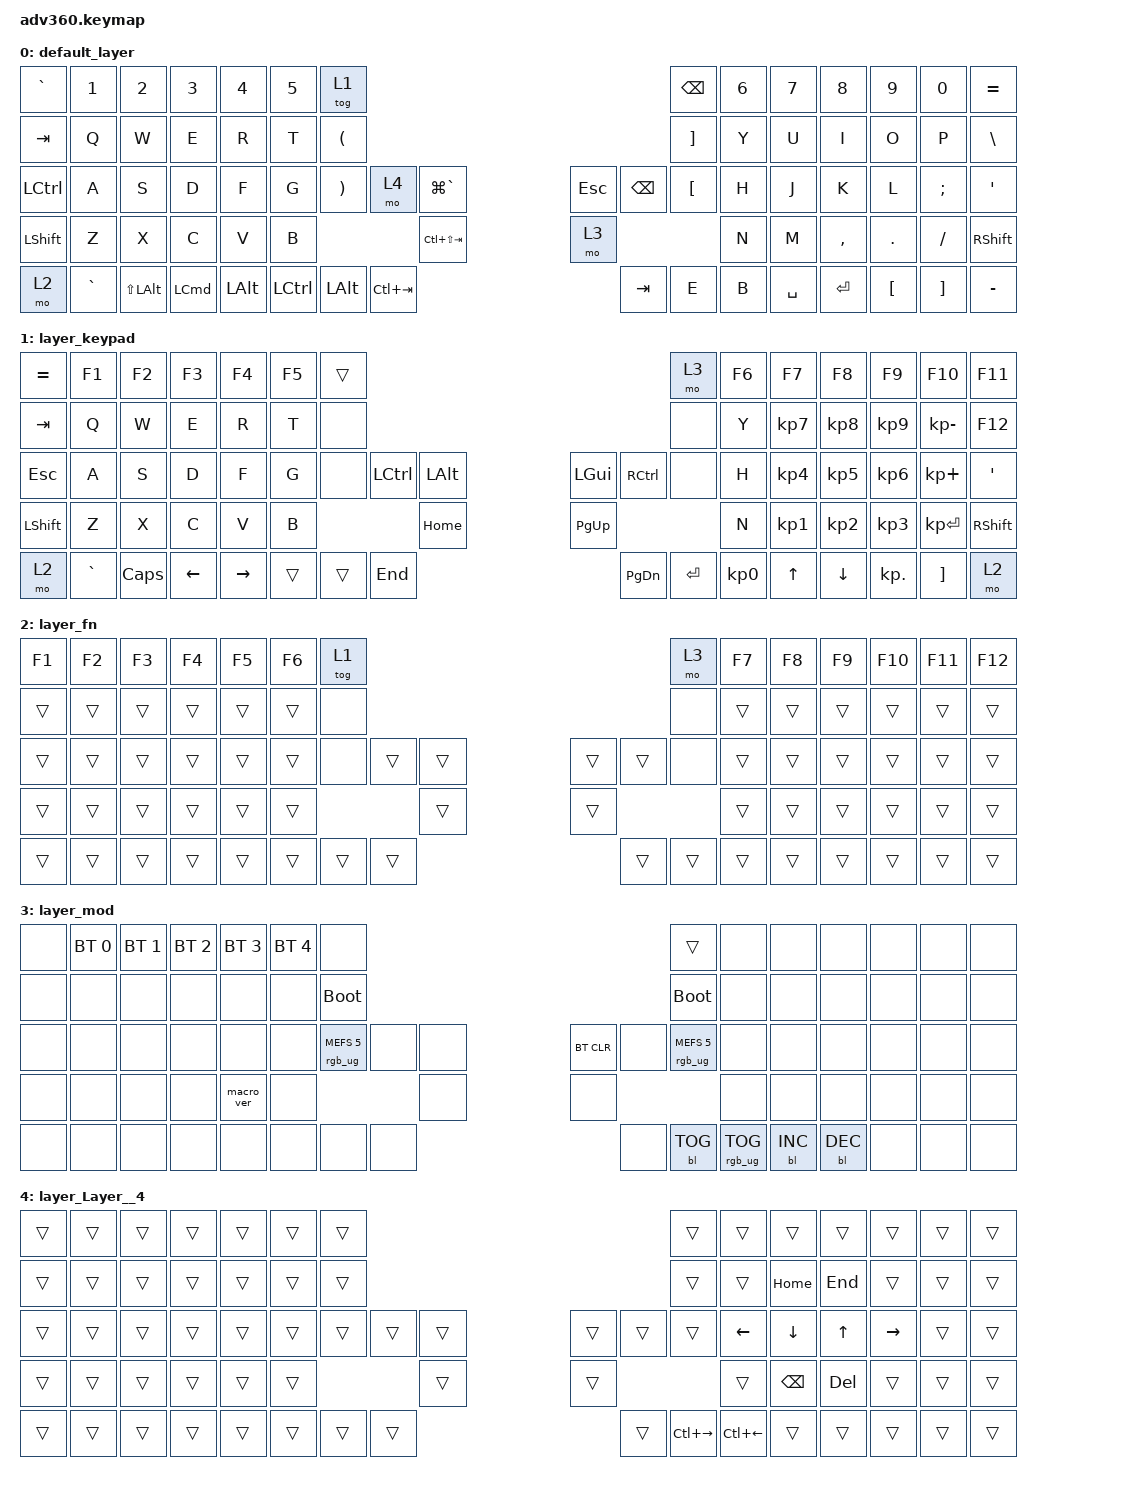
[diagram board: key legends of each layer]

/*
 * Copyright (c) 2020 The ZMK Contributors
 *
 * SPDX-License-Identifier: MIT
 */


/* THIS FILE WAS GENERATED!
 *
 * This file was generated automatically. You may or may not want to
 * edit it directly.
 */

#include <behaviors.dtsi>
#include <dt-bindings/zmk/keys.h>
#include <dt-bindings/zmk/bt.h>
#include <dt-bindings/zmk/rgb.h>
#include <dt-bindings/zmk/backlight.h>

/ {
  behaviors {
    #include "macros.dtsi"
    #include "version.dtsi"

    hm: homerow_mods {
        compatible = "zmk,behavior-hold-tap";
        label = "HOMEROW_MODS";
        #binding-cells = <2>;
        tapping-term-ms = <200>;
        quick_tap_ms = <175>;
        flavor = "tap-preferred";
        bindings = <&kp>, <&kp>;
    };
  };

    keymap {
        compatible = "zmk,keymap";


        default_layer {
            bindings = <
 &kp GRAVE     &kp N1        &kp N2    &kp N3        &kp N4  &kp N5                           &tog 1                                                                                &kp BACKSPACE  &kp N6     &kp N7     &kp N8    &kp N9    &kp N0  &kp EQUAL
   &kp TAB      &kp Q         &kp W     &kp E         &kp R   &kp T             &kp LEFT_PARENTHESIS                                                                            &kp RIGHT_BRACKET   &kp Y      &kp U      &kp I     &kp O     &kp P   &kp BSLH
 &kp LCTRL      &kp A         &kp S     &kp D         &kp F   &kp G            &kp RIGHT_PARENTHESIS         &mo 4    &kp LG(GRAVE)                  &kp ESCAPE  &kp BACKSPACE   &kp LEFT_BRACKET   &kp H      &kp J      &kp K     &kp L  &kp SEMI    &kp SQT
 &kp LSHFT      &kp Z         &kp X     &kp C         &kp V   &kp B                                                 &kp LC(LS(TAB))                       &mo 3                                     &kp N      &kp M  &kp COMMA   &kp DOT  &kp FSLH  &kp RSHFT
     &mo 2  &kp GRAVE  &kp LS(LALT)  &kp LCMD  &kp LEFT_ALT                                &kp LCTRL  &kp LEFT_ALT      &kp LC(TAB)                     &kp TAB          &kp E              &kp B          &kp SPACE  &kp ENTER  &kp LBKT  &kp RBKT  &kp MINUS
            >;
        };

        layer_keypad {
            bindings = <
 &kp EQUAL     &kp F1    &kp F2    &kp F3     &kp F4  &kp F5            &trans                                                                 &mo 3  &kp F6     &kp F7     &kp F8      &kp F9       &kp F10    &kp F11
   &kp TAB      &kp Q     &kp W     &kp E      &kp R   &kp T             &none                                                                 &none   &kp Y  &kp KP_N7  &kp KP_N8   &kp KP_N9  &kp KP_MINUS    &kp F12
   &kp ESC      &kp A     &kp S     &kp D      &kp F   &kp G             &none  &kp LCTRL  &kp LALT                   &kp LGUI  &kp RCTRL      &none   &kp H  &kp KP_N4  &kp KP_N5   &kp KP_N6   &kp KP_PLUS    &kp SQT
 &kp LSHFT      &kp Z     &kp X     &kp C      &kp V   &kp B                               &kp HOME                  &kp PG_UP                         &kp N  &kp KP_N1  &kp KP_N2   &kp KP_N3  &kp KP_ENTER  &kp RSHFT
     &mo 2  &kp GRAVE  &kp CAPS  &kp LEFT  &kp RIGHT                    &trans     &trans   &kp END                  &kp PG_DN  &kp ENTER  &kp KP_N0             &kp UP   &kp DOWN  &kp KP_DOT      &kp RBKT      &mo 2
            >;
        };

        layer_fn {
            bindings = <
 &kp F1  &kp F2  &kp F3  &kp F4  &kp F5  &kp F6            &tog 1                                                   &mo 3  &kp F7  &kp F8  &kp F9  &kp F10  &kp F11  &kp F12
 &trans  &trans  &trans  &trans  &trans  &trans             &none                                                   &none  &trans  &trans  &trans   &trans   &trans   &trans
 &trans  &trans  &trans  &trans  &trans  &trans             &none  &trans  &trans                  &trans  &trans   &none  &trans  &trans  &trans   &trans   &trans   &trans
 &trans  &trans  &trans  &trans  &trans  &trans                            &trans                  &trans                  &trans  &trans  &trans   &trans   &trans   &trans
 &trans  &trans  &trans  &trans  &trans                    &trans  &trans  &trans                  &trans  &trans  &trans          &trans  &trans   &trans   &trans   &trans
            >;
        };

        layer_mod {
            bindings = <
  &none  &bt BT_SEL 0  &bt BT_SEL 1  &bt BT_SEL 2  &bt BT_SEL 3  &bt BT_SEL 4                             &none                                                                          &trans   &none       &none       &none   &none   &none   &none
  &none         &none         &none         &none         &none         &none                       &bootloader                                                                     &bootloader   &none       &none       &none   &none   &none   &none
  &none         &none         &none         &none         &none         &none            &rgb_ug RGB_MEFS_CMD 5   &none   &none                  &bt BT_CLR       &none  &rgb_ug RGB_MEFS_CMD 5   &none       &none       &none   &none   &none   &none
  &none         &none         &none         &none    &macro_ver         &none                                             &none                       &none                                       &none       &none       &none   &none   &none   &none
  &none         &none         &none         &none         &none                                           &none   &none   &none                       &none  &bl BL_TOG         &rgb_ug RGB_TOG          &bl BL_INC  &bl BL_DEC   &none   &none   &none
            >;
        };

        layer_Layer__4 {
            bindings = <
 &trans  &trans  &trans  &trans  &trans  &trans            &trans                                                                           &trans          &trans          &trans        &trans           &trans  &trans  &trans
 &trans  &trans  &trans  &trans  &trans  &trans            &trans                                                                           &trans          &trans        &kp HOME       &kp END           &trans  &trans  &trans
 &trans  &trans  &trans  &trans  &trans  &trans            &trans  &trans  &trans                  &trans               &trans              &trans  &kp LEFT_ARROW  &kp DOWN_ARROW  &kp UP_ARROW  &kp RIGHT_ARROW  &trans  &trans
 &trans  &trans  &trans  &trans  &trans  &trans                            &trans                  &trans                                                   &trans   &kp BACKSPACE    &kp DELETE           &trans  &trans  &trans
 &trans  &trans  &trans  &trans  &trans                    &trans  &trans  &trans                  &trans  &kp LC(RIGHT_ARROW)  &kp LC(LEFT_ARROW)                          &trans        &trans           &trans  &trans  &trans
            >;
        };

    };
};
